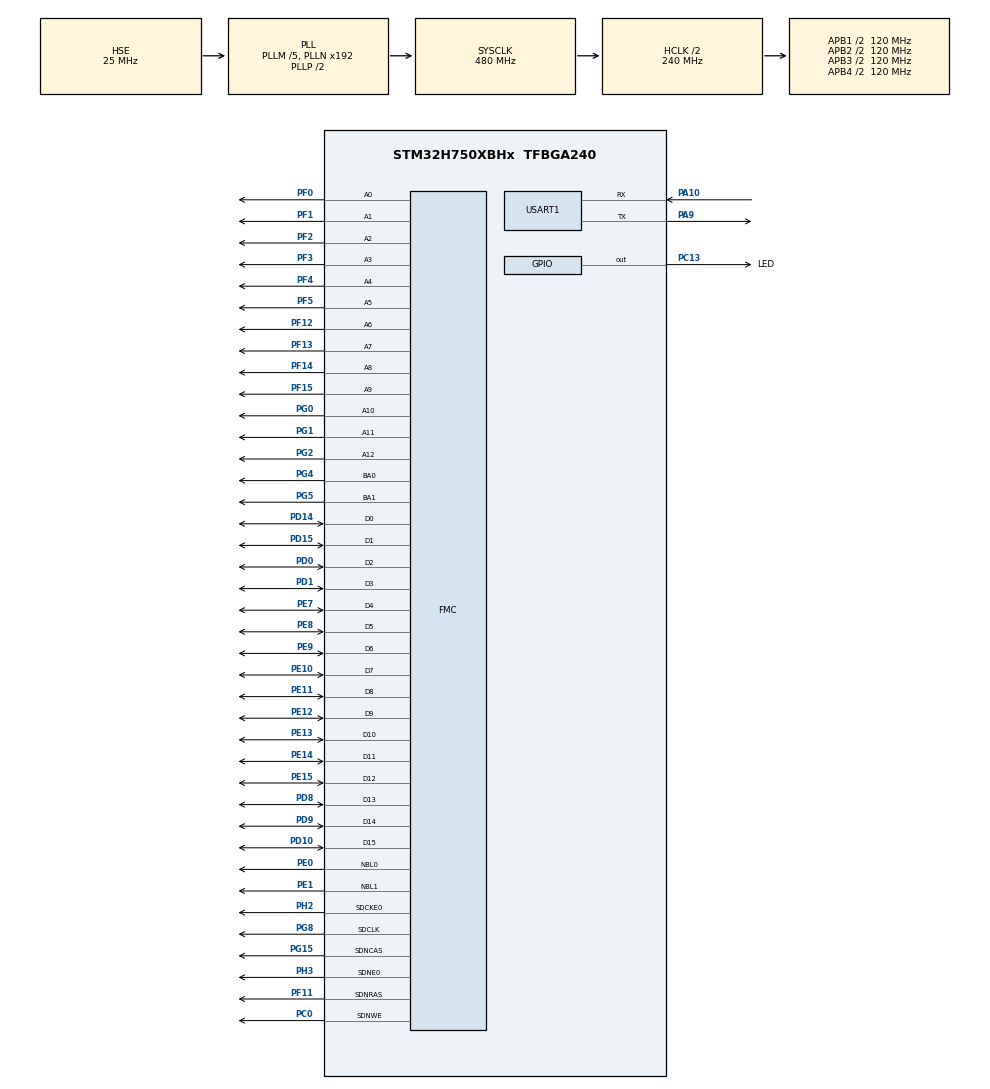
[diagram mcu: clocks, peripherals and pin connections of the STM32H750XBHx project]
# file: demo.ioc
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CORTEX_M7.AccessPermission_Spec=MPU_REGION_FULL_ACCESS
CORTEX_M7.BaseAddress_Spec=0xC0000000
CORTEX_M7.CPU_DCache=Enabled
CORTEX_M7.CPU_ICache=Enabled
CORTEX_M7.DisableExec_Spec=MPU_INSTRUCTION_ACCESS_ENABLE
CORTEX_M7.IsCacheable_Spec=MPU_ACCESS_CACHEABLE
CORTEX_M7.IsShareable_Spec=MPU_ACCESS_NOT_SHAREABLE
CORTEX_M7.Size_Spec=MPU_REGION_SIZE_32MB
CORTEX_M7.SubRegionDisable_Spec=0
CORTEX_M7.default_mode_Activation=1
FMC.CASLatency1=FMC_SDRAM_CAS_LATENCY_3
FMC.ColumnBitsNumber1=FMC_SDRAM_COLUMN_BITS_NUM_9
FMC.ExitSelfRefreshDelay1=7
FMC.LoadToActiveDelay1=2
FMC.RCDDelay1=2
FMC.RPDelay1=2
FMC.ReadBurst1=FMC_SDRAM_RBURST_ENABLE
FMC.ReadPipeDelay1=FMC_SDRAM_RPIPE_DELAY_1
FMC.RowCycleDelay1=7
FMC.SDClockPeriod1=FMC_SDRAM_CLOCK_PERIOD_2
FMC.SelfRefreshTime1=4
FMC.WriteRecoveryTime1=3
Mcu.Family=STM32H7
Mcu.Name=STM32H750XBHx
Mcu.Package=TFBGA240
NVIC.PriorityGroup=NVIC_PRIORITYGROUP_4
PA10.Mode=Asynchronous
PA10.Signal=USART1_RX
PA13\ (JTMS/SWDIO).Mode=Serial_Wire
PA13\ (JTMS/SWDIO).Signal=DEBUG_JTMS-SWDIO
PA14\ (JTCK/SWCLK).Mode=Serial_Wire
PA14\ (JTCK/SWCLK).Signal=DEBUG_JTCK-SWCLK
PA9.Mode=Asynchronous
PA9.Signal=USART1_TX
PC0.Signal=FMC_SDNWE
PC13.GPIO_Label=LED
PC13.GPIO_PuPd=GPIO_PULLUP
PC13.PinState=GPIO_PIN_SET
PC13.Signal=GPIO_Output
PD0.Signal=FMC_D2_DA2
PD1.Signal=FMC_D3_DA3
PD10.Signal=FMC_D15_DA15
PD14.Signal=FMC_D0_DA0
PD15.Signal=FMC_D1_DA1
PD8.Signal=FMC_D13_DA13
PD9.Signal=FMC_D14_DA14
PE0.Signal=FMC_NBL0
PE1.Signal=FMC_NBL1
PE10.Signal=FMC_D7_DA7
PE11.Signal=FMC_D8_DA8
PE12.Signal=FMC_D9_DA9
PE13.Signal=FMC_D10_DA10
PE14.Signal=FMC_D11_DA11
PE15.Signal=FMC_D12_DA12
PE7.Signal=FMC_D4_DA4
PE8.Signal=FMC_D5_DA5
PE9.Signal=FMC_D6_DA6
PF0.Signal=FMC_A0
PF1.Signal=FMC_A1
PF11.Signal=FMC_SDNRAS
PF12.Signal=FMC_A6
PF13.Signal=FMC_A7
PF14.Signal=FMC_A8
PF15.Signal=FMC_A9
PF2.Signal=FMC_A2
PF3.Signal=FMC_A3
PF4.Signal=FMC_A4
PF5.Signal=FMC_A5
PG0.Signal=FMC_A10
PG1.Signal=FMC_A11
PG15.Signal=FMC_SDNCAS
PG2.Signal=FMC_A12
PG4.Signal=FMC_A14_BA0
PG5.Signal=FMC_A15_BA1
PG8.Signal=FMC_SDCLK
PH0-OSC_IN\ (PH0).Mode=HSE-External-Oscillator
PH0-OSC_IN\ (PH0).Signal=RCC_OSC_IN
PH1-OSC_OUT\ (PH1).Mode=HSE-External-Oscillator
PH1-OSC_OUT\ (PH1).Signal=RCC_OSC_OUT
PH2.Mode=SdramChipSelect1_1
PH2.Signal=FMC_SDCKE0
PH3.Mode=SdramChipSelect1_1
PH3.Signal=FMC_SDNE0
ProjectManager.HeapSize=0x200
ProjectManager.StackSize=0x400
ProjectManager.TargetToolchain=MDK-ARM V5.32
RCC.ADCFreq_Value=50390625
RCC.APB1Freq_Value=120000000
RCC.APB2Freq_Value=120000000
RCC.APB3Freq_Value=120000000
RCC.APB4Freq_Value=120000000
RCC.CortexFreq_Value=480000000
RCC.D1PPRE=RCC_APB3_DIV2
RCC.D2PPRE1=RCC_APB1_DIV2
RCC.D2PPRE2=RCC_APB2_DIV2
RCC.D3PPRE=RCC_APB4_DIV2
RCC.DIVM1=5
RCC.DIVN1=192
RCC.HCLKFreq_Value=240000000
RCC.HPRE=RCC_HCLK_DIV2
RCC.PLL2FRACN=0
RCC.PLL3FRACN=0
RCC.PLLFRACN=0
RCC.PLLSourceVirtual=RCC_PLLSOURCE_HSE
RCC.PWR_Regulator_Voltage_Scale=PWR_REGULATOR_VOLTAGE_SCALE0
RCC.SYSCLKFreq_VALUE=480000000
RCC.SYSCLKSource=RCC_SYSCLKSOURCE_PLLCLK
RCC.USBFreq_Value=480000000
SH.FMC_A0.0=FMC_A0,13b-sda1
SH.FMC_A1.0=FMC_A1,13b-sda1
SH.FMC_A10.0=FMC_A10,13b-sda1
SH.FMC_A11.0=FMC_A11,13b-sda1
SH.FMC_A12.0=FMC_A12,13b-sda1
SH.FMC_A14_BA0.0=FMC_BA0,FourSdramBanks1
SH.FMC_A15_BA1.0=FMC_BA1,FourSdramBanks1
SH.FMC_A2.0=FMC_A2,13b-sda1
SH.FMC_A3.0=FMC_A3,13b-sda1
SH.FMC_A4.0=FMC_A4,13b-sda1
SH.FMC_A5.0=FMC_A5,13b-sda1
SH.FMC_A6.0=FMC_A6,13b-sda1
SH.FMC_A7.0=FMC_A7,13b-sda1
SH.FMC_A8.0=FMC_A8,13b-sda1
SH.FMC_A9.0=FMC_A9,13b-sda1
SH.FMC_D0_DA0.0=FMC_D0,sd-16b-d1
SH.FMC_D10_DA10.0=FMC_D10,sd-16b-d1
SH.FMC_D11_DA11.0=FMC_D11,sd-16b-d1
SH.FMC_D12_DA12.0=FMC_D12,sd-16b-d1
SH.FMC_D13_DA13.0=FMC_D13,sd-16b-d1
SH.FMC_D14_DA14.0=FMC_D14,sd-16b-d1
SH.FMC_D15_DA15.0=FMC_D15,sd-16b-d1
SH.FMC_D1_DA1.0=FMC_D1,sd-16b-d1
SH.FMC_D2_DA2.0=FMC_D2,sd-16b-d1
SH.FMC_D3_DA3.0=FMC_D3,sd-16b-d1
SH.FMC_D4_DA4.0=FMC_D4,sd-16b-d1
SH.FMC_D5_DA5.0=FMC_D5,sd-16b-d1
SH.FMC_D6_DA6.0=FMC_D6,sd-16b-d1
SH.FMC_D7_DA7.0=FMC_D7,sd-16b-d1
SH.FMC_D8_DA8.0=FMC_D8,sd-16b-d1
SH.FMC_D9_DA9.0=FMC_D9,sd-16b-d1
SH.FMC_NBL0.0=FMC_NBL0,Sd2ByteEnable1
SH.FMC_NBL1.0=FMC_NBL1,Sd2ByteEnable1
SH.FMC_SDCLK.0=FMC_SDCLK,13b-sda1
SH.FMC_SDNCAS.0=FMC_SDNCAS,13b-sda1
SH.FMC_SDNRAS.0=FMC_SDNRAS,13b-sda1
SH.FMC_SDNWE.0=FMC_SDNWE,13b-sda1
USART1.VirtualMode-Asynchronous=VM_ASYNC
board=custom

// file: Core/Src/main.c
/* USER CODE BEGIN Header */
/**
 ******************************************************************************
 * @file           : main.c
 * @brief          : Main program body
 ******************************************************************************
 * @attention
 *
 * Copyright (c) 2023 STMicroelectronics.
 * All rights reserved.
 *
 * This software is licensed under terms that can be found in the LICENSE file
 * in the root directory of this software component.
 * If no LICENSE file comes with this software, it is provided AS-IS.
 *
 ******************************************************************************
 */
/* USER CODE END Header */
#include "main.h"

/* USER CODE BEGIN Includes */
#include "bsp_uart.h"
#include "bsp_sdram.h"
/* USER CODE END Includes */

UART_HandleTypeDef huart1;

SDRAM_HandleTypeDef hsdram1;

void SystemClock_Config(void);
static void MPU_Config(void);
static void MX_GPIO_Init(void);
static void MX_USART1_UART_Init(void);
static void MX_FMC_Init(void);

/* USER CODE BEGIN 0 */

#define SDRAM_Size      16 * 1024 * 1024  // 16M Bytes, W9812G6
// #define SDRAM_Size   32 * 1024 * 1024  // 32M Bytes, W9825G6

#define SDRAM_BANK_ADDR SDRAM_ADDR_BASE

ErrorStatus SDRAM_8Bit_Test(void)
{
    uint32_t i    = 0;
    uint8_t  Data = 0;

    uint32_t ExecutionTime;
    float    ExecutionSpeed;

    printf("%s\n", __func__);

    ExecutionTime = HAL_GetTick();

    //-----------------------------------------
    // write

    for (i = 0; i < SDRAM_Size; i++)
    {
        SDRAM_Byte(i) = (uint8_t)i;
    }

    ExecutionTime  = HAL_GetTick() - ExecutionTime;
    ExecutionSpeed = (float)SDRAM_Size / 1024 / 1024 / ExecutionTime * 1000;  // unit = MB/S
    printf("- wirte %d MB, time = %d ms, speed = %.2f MB/s\n", SDRAM_Size / 1024 / 1024, ExecutionTime, ExecutionSpeed);

    //-----------------------------------------
    // read

    ExecutionTime = HAL_GetTick();

    for (i = 0; i < SDRAM_Size; i++)
    {
        Data = SDRAM_Byte(i);
    }

    ExecutionTime  = HAL_GetTick() - ExecutionTime;
    ExecutionSpeed = (float)SDRAM_Size / 1024 / 1024 / ExecutionTime * 1000;  // unit = MB/S
    printf("- read %d MB, time = %d ms, speed = %.2f MB/s\n", SDRAM_Size / 1024 / 1024, ExecutionTime, ExecutionSpeed);

    //-----------------------------------------
    // check

    for (i = 0; i < SDRAM_Size; i++)
    {
        Data = SDRAM_Byte(i);

        if (Data != (uint8_t)i)
        {
            printf("- check fail, %d != %d\n", Data, i);
            return ERROR;
        }
    }

    printf("- check ok\n");

    return SUCCESS;
}

ErrorStatus SDRAM_16Bit_Test(void)
{
    /**
     * 不同优化等级读写速度不同
     *
     *       |   O3   |   O2
     * ------+--------+--------
     * WRITE | 222.22 | 179.78
     * READ  | 126.98 | 111.89
     *
     * unit: MB/s
     */

    uint32_t i    = 0;
    uint16_t Data = 0;

    uint32_t ExecutionTime;
    float    ExecutionSpeed;

    printf("%s\n", __func__);

    ExecutionTime = HAL_GetTick();

    //-----------------------------------------
    // write

    for (i = 0; i < SDRAM_Size / 2; i++)
    {
        SDRAM_Word(i) = (uint16_t)i;
    }

    ExecutionTime  = HAL_GetTick() - ExecutionTime;
    ExecutionSpeed = (float)SDRAM_Size / 1024 / 1024 / ExecutionTime * 1000;  // unit = MB/S
    printf("- wirte %d MB, time = %d ms, speed = %.2f MB/s\n", SDRAM_Size / 1024 / 1024, ExecutionTime, ExecutionSpeed);

    //-----------------------------------------
    // read

    ExecutionTime = HAL_GetTick();

    for (i = 0; i < SDRAM_Size / 2; i++)
    {
        Data = SDRAM_Word(i);
    }

    ExecutionTime  = HAL_GetTick() - ExecutionTime;
    ExecutionSpeed = (float)SDRAM_Size / 1024 / 1024 / ExecutionTime * 1000;  // unit = MB/S
    printf("- read %d MB, time = %d ms, speed = %.2f MB/s\n", SDRAM_Size / 1024 / 1024, ExecutionTime, ExecutionSpeed);

    //-----------------------------------------
    // check

    for (i = 0; i < SDRAM_Size / 2; i++)
    {
        Data = SDRAM_Word(i);

        if (Data != (uint16_t)i)
        {
            printf("- check fail, %d != %d\n", Data, i);
            return ERROR;
        }
    }

    printf("- check ok\n");

    return SUCCESS;
}

/* USER CODE END 0 */

int main(void)
{

  /* MPU Configuration--------------------------------------------------------*/
  MPU_Config();
/* Enable the CPU Cache */

  /* Enable I-Cache---------------------------------------------------------*/
  SCB_EnableICache();

  /* Enable D-Cache---------------------------------------------------------*/
  SCB_EnableDCache();

  /* MCU Configuration--------------------------------------------------------*/

  /* Reset of all peripherals, Initializes the Flash interface and the Systick. */
  HAL_Init();

  /* Configure the system clock */
  SystemClock_Config();

  /* Initialize all configured peripherals */
  MX_GPIO_Init();
  MX_USART1_UART_Init();
  MX_FMC_Init();
  /* USER CODE BEGIN 2 */
    SDRAM_Initialization_Sequence(&hsdram1);
    SDRAM_8Bit_Test();
    SDRAM_16Bit_Test();
  /* USER CODE END 2 */

  /* Infinite loop */
    while (1)
    {

    }
}

void SystemClock_Config(void)
{
  RCC_OscInitTypeDef RCC_OscInitStruct = {0};
  RCC_ClkInitTypeDef RCC_ClkInitStruct = {0};

  /** Supply configuration update enable
  */
  HAL_PWREx_ConfigSupply(PWR_LDO_SUPPLY);

  /** Configure the main internal regulator output voltage
  */
  __HAL_PWR_VOLTAGESCALING_CONFIG(PWR_REGULATOR_VOLTAGE_SCALE1);

  while(!__HAL_PWR_GET_FLAG(PWR_FLAG_VOSRDY)) {}

  __HAL_RCC_SYSCFG_CLK_ENABLE();
  __HAL_PWR_VOLTAGESCALING_CONFIG(PWR_REGULATOR_VOLTAGE_SCALE0);

  while(!__HAL_PWR_GET_FLAG(PWR_FLAG_VOSRDY)) {}

  /** Initializes the RCC Oscillators according to the specified parameters
  * in the RCC_OscInitTypeDef structure.
  */
  RCC_OscInitStruct.OscillatorType = RCC_OSCILLATORTYPE_HSE;
  RCC_OscInitStruct.HSEState = RCC_HSE_ON;
  RCC_OscInitStruct.PLL.PLLState = RCC_PLL_ON;
  RCC_OscInitStruct.PLL.PLLSource = RCC_PLLSOURCE_HSE;
  RCC_OscInitStruct.PLL.PLLM = 5;
  RCC_OscInitStruct.PLL.PLLN = 192;
  RCC_OscInitStruct.PLL.PLLP = 2;
  RCC_OscInitStruct.PLL.PLLQ = 2;
  RCC_OscInitStruct.PLL.PLLR = 2;
  RCC_OscInitStruct.PLL.PLLRGE = RCC_PLL1VCIRANGE_2;
  RCC_OscInitStruct.PLL.PLLVCOSEL = RCC_PLL1VCOWIDE;
  RCC_OscInitStruct.PLL.PLLFRACN = 0;
  if (HAL_RCC_OscConfig(&RCC_OscInitStruct) != HAL_OK)
  {
    Error_Handler();
  }

  /** Initializes the CPU, AHB and APB buses clocks
  */
  RCC_ClkInitStruct.ClockType = RCC_CLOCKTYPE_HCLK|RCC_CLOCKTYPE_SYSCLK
                              |RCC_CLOCKTYPE_PCLK1|RCC_CLOCKTYPE_PCLK2
                              |RCC_CLOCKTYPE_D3PCLK1|RCC_CLOCKTYPE_D1PCLK1;
  RCC_ClkInitStruct.SYSCLKSource = RCC_SYSCLKSOURCE_PLLCLK;
  RCC_ClkInitStruct.SYSCLKDivider = RCC_SYSCLK_DIV1;
  RCC_ClkInitStruct.AHBCLKDivider = RCC_HCLK_DIV2;
  RCC_ClkInitStruct.APB3CLKDivider = RCC_APB3_DIV2;
  RCC_ClkInitStruct.APB1CLKDivider = RCC_APB1_DIV2;
  RCC_ClkInitStruct.APB2CLKDivider = RCC_APB2_DIV2;
  RCC_ClkInitStruct.APB4CLKDivider = RCC_APB4_DIV2;

  if (HAL_RCC_ClockConfig(&RCC_ClkInitStruct, FLASH_LATENCY_4) != HAL_OK)
  {
    Error_Handler();
  }
}

static void MX_USART1_UART_Init(void)
{

  huart1.Instance = USART1;
  huart1.Init.BaudRate = 115200;
  huart1.Init.WordLength = UART_WORDLENGTH_8B;
  huart1.Init.StopBits = UART_STOPBITS_1;
  huart1.Init.Parity = UART_PARITY_NONE;
  huart1.Init.Mode = UART_MODE_TX_RX;
  huart1.Init.HwFlowCtl = UART_HWCONTROL_NONE;
  huart1.Init.OverSampling = UART_OVERSAMPLING_16;
  huart1.Init.OneBitSampling = UART_ONE_BIT_SAMPLE_DISABLE;
  huart1.Init.ClockPrescaler = UART_PRESCALER_DIV1;
  huart1.AdvancedInit.AdvFeatureInit = UART_ADVFEATURE_NO_INIT;
  if (HAL_UART_Init(&huart1) != HAL_OK)
  {
    Error_Handler();
  }
  if (HAL_UARTEx_SetTxFifoThreshold(&huart1, UART_TXFIFO_THRESHOLD_1_8) != HAL_OK)
  {
    Error_Handler();
  }
  if (HAL_UARTEx_SetRxFifoThreshold(&huart1, UART_RXFIFO_THRESHOLD_1_8) != HAL_OK)
  {
    Error_Handler();
  }
  if (HAL_UARTEx_DisableFifoMode(&huart1) != HAL_OK)
  {
    Error_Handler();
  }

}

/* FMC initialization function */
static void MX_FMC_Init(void)
{

  FMC_SDRAM_TimingTypeDef SdramTiming = {0};

  /** Perform the SDRAM1 memory initialization sequence
  */
  hsdram1.Instance = FMC_SDRAM_DEVICE;
  /* hsdram1.Init */
  hsdram1.Init.SDBank = FMC_SDRAM_BANK1;
  hsdram1.Init.ColumnBitsNumber = FMC_SDRAM_COLUMN_BITS_NUM_9;
  hsdram1.Init.RowBitsNumber = FMC_SDRAM_ROW_BITS_NUM_13;
  hsdram1.Init.MemoryDataWidth = FMC_SDRAM_MEM_BUS_WIDTH_16;
  hsdram1.Init.InternalBankNumber = FMC_SDRAM_INTERN_BANKS_NUM_4;
  hsdram1.Init.CASLatency = FMC_SDRAM_CAS_LATENCY_3;
  hsdram1.Init.WriteProtection = FMC_SDRAM_WRITE_PROTECTION_DISABLE;
  hsdram1.Init.SDClockPeriod = FMC_SDRAM_CLOCK_PERIOD_2;
  hsdram1.Init.ReadBurst = FMC_SDRAM_RBURST_ENABLE;
  hsdram1.Init.ReadPipeDelay = FMC_SDRAM_RPIPE_DELAY_1;
  /* SdramTiming */
  SdramTiming.LoadToActiveDelay = 2;
  SdramTiming.ExitSelfRefreshDelay = 7;
  SdramTiming.SelfRefreshTime = 4;
  SdramTiming.RowCycleDelay = 7;
  SdramTiming.WriteRecoveryTime = 3;
  SdramTiming.RPDelay = 2;
  SdramTiming.RCDDelay = 2;

  if (HAL_SDRAM_Init(&hsdram1, &SdramTiming) != HAL_OK)
  {
    Error_Handler( );
  }

}

static void MX_GPIO_Init(void)
{
  GPIO_InitTypeDef GPIO_InitStruct = {0};

  /* GPIO Ports Clock Enable */
  __HAL_RCC_GPIOE_CLK_ENABLE();
  __HAL_RCC_GPIOA_CLK_ENABLE();
  __HAL_RCC_GPIOG_CLK_ENABLE();
  __HAL_RCC_GPIOD_CLK_ENABLE();
  __HAL_RCC_GPIOC_CLK_ENABLE();
  __HAL_RCC_GPIOF_CLK_ENABLE();
  __HAL_RCC_GPIOH_CLK_ENABLE();

  /*Configure GPIO pin Output Level */
  HAL_GPIO_WritePin(LED_GPIO_Port, LED_Pin, GPIO_PIN_SET);

  /*Configure GPIO pin : LED_Pin */
  GPIO_InitStruct.Pin = LED_Pin;
  GPIO_InitStruct.Mode = GPIO_MODE_OUTPUT_PP;
  GPIO_InitStruct.Pull = GPIO_PULLUP;
  GPIO_InitStruct.Speed = GPIO_SPEED_FREQ_LOW;
  HAL_GPIO_Init(LED_GPIO_Port, &GPIO_InitStruct);

}

/* MPU Configuration */

void MPU_Config(void)
{
  MPU_Region_InitTypeDef MPU_InitStruct = {0};

  /* Disables the MPU */
  HAL_MPU_Disable();

  /** Initializes and configures the Region and the memory to be protected
  */
  MPU_InitStruct.Enable = MPU_REGION_ENABLE;
  MPU_InitStruct.Number = MPU_REGION_NUMBER0;
  MPU_InitStruct.BaseAddress = 0xC0000000;
  MPU_InitStruct.Size = MPU_REGION_SIZE_32MB;
  MPU_InitStruct.SubRegionDisable = 0;
  MPU_InitStruct.TypeExtField = MPU_TEX_LEVEL0;
  MPU_InitStruct.AccessPermission = MPU_REGION_FULL_ACCESS;
  MPU_InitStruct.DisableExec = MPU_INSTRUCTION_ACCESS_ENABLE;
  MPU_InitStruct.IsShareable = MPU_ACCESS_NOT_SHAREABLE;
  MPU_InitStruct.IsCacheable = MPU_ACCESS_CACHEABLE;
  MPU_InitStruct.IsBufferable = MPU_ACCESS_NOT_BUFFERABLE;

  HAL_MPU_ConfigRegion(&MPU_InitStruct);
  /* Enables the MPU */
  HAL_MPU_Enable(MPU_PRIVILEGED_DEFAULT);

}

void Error_Handler(void)
{
    __disable_irq();
    while (1)
    {
    }
}
